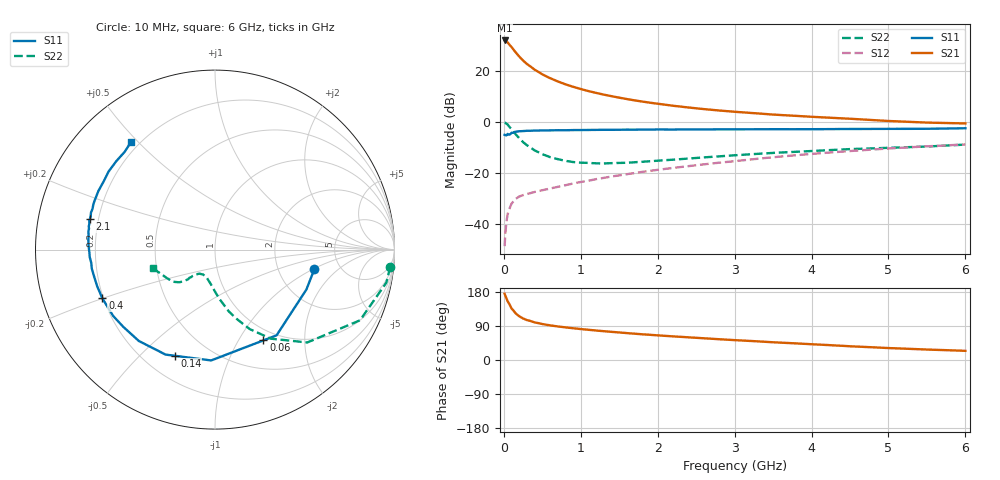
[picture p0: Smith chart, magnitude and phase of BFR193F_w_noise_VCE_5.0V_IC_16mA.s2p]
! Infineon Technologies  Discrete & RF Semiconductors
! BFR193F
! VCE =  5.0 V,  IC =  16 mA
! Common Emitter S-Parameters:  Jan 2017
# GHz  S  MA  R  50
!  f  S11  S21  S12  S22
! GHz  MAG  ANG  MAG  ANG  MAG  ANG  MAG  ANG
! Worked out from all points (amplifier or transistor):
!   77 points, 10 MHz to 6 GHz, reference 50 ohm
!   highest |S21| = 32.2 dB at 10 MHz (marker M1)
!   |S21| within 3 dB of that: start of sweep to 110.6 MHz
!   unconditionally stable (mu >= 1): 1.389 GHz to 2.765 GHz
!   at 130 MHz: K = 0.24, MSG = 29.7 dB, |S12| = -31.0 dB
!   at 2.2 GHz: K = 1.03, MAG = 11.2 dB, |S12| = -18.0 dB
!   at 6 GHz: K = 0.83, MSG = 4.1 dB, |S12| = -8.8 dB
!   lowest NFmin = 0.97 dB at 450 MHz
!   S11 on the Smith chart (normalised r, x): 10 MHz: 3.22, -1.04; 60 MHz: 0.85, -1.28; 140 MHz: 0.32, -0.64; 400 MHz: 0.20, -0.20; 2.1 GHz: 0.17, +0.12; 6 GHz: 0.17, +0.47
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0.01  0.5641 -11.3  40.81 174.9  0.0036 85.2  0.9811 -5.6
0.02  0.5557 -23.6  40.03 169.2  0.0065 79.9  0.9723 -10.9
0.05  0.5881 -54.3  37.26 154.7  0.0155 70.1  0.8989 -26.0
0.06  0.5733 -61.9  35.59 151.5  0.0173 66.3  0.8582 -29.2
0.1  0.6179 -92.0  30.29 135.8  0.0248 56.9  0.7294 -45.2
0.14  0.6327 -110.8  25.29 126.6  0.0293 49.3  0.6119 -54.9
0.15  0.6465 -115.2  24.16 123.7  0.0305 47.7  0.5859 -57.9
0.2  0.6627 -129.8  19.7 115.4  0.0343 44.5  0.4833 -66.4
0.25  0.6681 -139.9  16.41 109.6  0.0365 43.2  0.4049 -72.6
0.3  0.6772 -146.9  14.04 105.4  0.0383 43.3  0.3522 -77.5
0.4  0.6839 -156.6  10.83 99.2  0.0421 44.5  0.2782 -84.6
0.5  0.6875 -162.8  8.783 94.9  0.0456 47.2  0.2342 -90.0
0.6  0.6899 -167.4  7.383 91.4  0.0492 49.3  0.2052 -94.5
0.7  0.6946 -171.2  6.371 88.6  0.0531 51.8  0.187 -98.6
0.9  0.6992 -176.6  4.99 83.8  0.0619 56.4  0.1639 -105.7
1.1  0.7027 179.5  4.103 79.7  0.0701 59.4  0.1575 -111.5
1.5  0.709 173.4  3.042 72.7  0.0894 64.0  0.1574 -120.4
2.1  0.7175 166.2  2.208 63.7  0.1202 67.9  0.1783 -128.2
3.1  0.7244 156.9  1.565 51.4  0.1769 69.7  0.2276 -132.7
4.1  0.7286 147.5  1.255 40.6  0.2433 67.8  0.2749 -138.7
5.1  0.7385 137.1  1.041 30.8  0.309 63.1  0.3161 -151.1
6  0.7593 128.2  0.945 24.2  0.3635 57.9  0.3618 -163.3
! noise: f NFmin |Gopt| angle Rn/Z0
0.45  0.97  0.28  157  0.06
0.9  1.06  0.38  161  0.06
1.9  1.7  0.58  -173  0.06
2.4  2  0.61  -163  0.09
